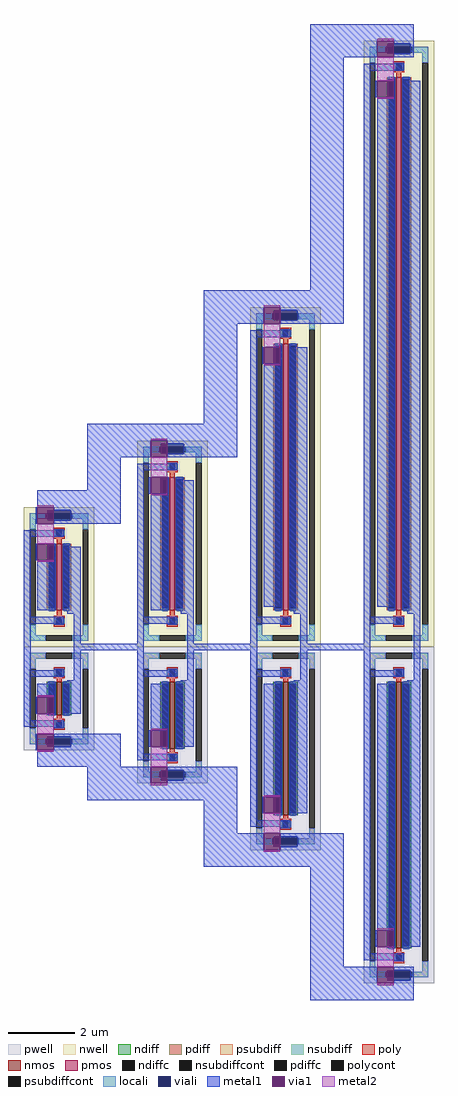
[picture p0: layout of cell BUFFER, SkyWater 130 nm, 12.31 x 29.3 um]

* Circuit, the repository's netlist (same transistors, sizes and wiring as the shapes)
** sch_path: /home/Rodin/codes/analogic/500pll/BUFFER.sch
**.subckt BUFFER VDD IN OUT GND
*.ipin IN
*.ipin VDD
*.ipin GND
*.opin OUT
XM5 net1 IN VDD VDD sky130_fd_pr__pfet_01v8 L=0.15 W=2 nf=1 ad=0.58 as=0.58 pd=4.58 ps=4.58 nrd=0.145 nrs=0.145 sa=0 sb=0 sd=0
+ mult=1
XM1 net2 net1 VDD VDD sky130_fd_pr__pfet_01v8 L=0.15 W=4 nf=1 ad=1.16 as=1.16 pd=8.58 ps=8.58 nrd=0.0725 nrs=0.0725 sa=0 sb=0 sd=0
+ mult=1
XM2 net2 net1 GND GND sky130_fd_pr__nfet_01v8 L=0.15 W=2 nf=1 ad=0.58 as=0.58 pd=4.58 ps=4.58 nrd=0.145 nrs=0.145 sa=0 sb=0 sd=0
+ mult=1
XM3 net1 IN GND GND sky130_fd_pr__nfet_01v8 L=0.15 W=1 nf=1 ad=0.29 as=0.29 pd=2.58 ps=2.58 nrd=0.29 nrs=0.29 sa=0 sb=0 sd=0
+ mult=1
XM4 OUT net3 VDD VDD sky130_fd_pr__pfet_01v8 L=0.15 W=16 nf=1 ad=4.64 as=4.64 pd=32.58 ps=32.58 nrd=0.018125 nrs=0.018125 sa=0
+ sb=0 sd=0 mult=1
XM6 OUT net3 GND GND sky130_fd_pr__nfet_01v8 L=0.15 W=8 nf=1 ad=2.32 as=2.32 pd=16.58 ps=16.58 nrd=0.03625 nrs=0.03625 sa=0 sb=0
+ sd=0 mult=1
XM7 net3 net2 VDD VDD sky130_fd_pr__pfet_01v8 L=0.15 W=8 nf=1 ad=2.32 as=2.32 pd=16.58 ps=16.58 nrd=0.03625 nrs=0.03625 sa=0 sb=0
+ sd=0 mult=1
XM8 net3 net2 GND GND sky130_fd_pr__nfet_01v8 L=0.15 W=4 nf=1 ad=1.16 as=1.16 pd=8.58 ps=8.58 nrd=0.0725 nrs=0.0725 sa=0 sb=0 sd=0
+ mult=1
**.ends
.end

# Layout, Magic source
magic
tech sky130A
magscale 1 2
<< viali >>
rect 2600 5120 2740 5180
rect 1920 3520 2060 3580
rect 1240 2720 1380 2780
rect 560 2320 700 2380
rect 560 960 700 1020
rect 1240 760 1380 820
rect 1920 360 2060 420
rect 2600 -440 2740 -380
<< metal1 >>
rect 2140 5200 2760 5300
rect 2140 5100 2540 5200
rect 2640 5180 2760 5200
rect 2740 5120 2760 5180
rect 2640 5100 2760 5120
rect 2140 3700 2340 5100
rect 1500 3600 2340 3700
rect 1500 3500 1860 3600
rect 1960 3580 2340 3600
rect 2060 3520 2340 3580
rect 1960 3500 2340 3520
rect 2460 5020 2700 5060
rect 1500 2900 1700 3500
rect 800 2800 1700 2900
rect 800 2700 1180 2800
rect 1280 2780 1700 2800
rect 1380 2720 1700 2780
rect 1280 2700 1700 2720
rect 1780 3420 2020 3460
rect 800 2500 1000 2700
rect 500 2400 1000 2500
rect 490 2300 500 2400
rect 600 2380 1000 2400
rect 700 2320 1000 2380
rect 600 2300 1000 2320
rect 1100 2620 1340 2660
rect 420 2220 660 2260
rect 420 1740 460 2220
rect 490 2080 500 2180
rect 600 2080 610 2180
rect 500 1780 600 2080
rect 660 1800 760 2160
rect 680 1760 760 1800
rect 420 1700 660 1740
rect 420 1420 460 1700
rect 720 1580 760 1760
rect 1100 1740 1140 2620
rect 1170 2480 1180 2580
rect 1280 2480 1290 2580
rect 1180 1780 1280 2480
rect 1340 1800 1440 2560
rect 1360 1760 1440 1800
rect 1100 1700 1340 1740
rect 1100 1580 1140 1700
rect 720 1540 1140 1580
rect 420 1380 660 1420
rect 420 1120 460 1380
rect 720 1360 760 1540
rect 680 1340 760 1360
rect 500 1260 600 1340
rect 490 1160 500 1260
rect 600 1160 610 1260
rect 660 1160 760 1340
rect 1100 1420 1140 1540
rect 1400 1580 1440 1760
rect 1780 1740 1820 3420
rect 1850 3260 1860 3360
rect 1960 3260 1970 3360
rect 1860 1800 1960 3260
rect 2020 1800 2120 3360
rect 2040 1760 2120 1800
rect 1780 1700 2020 1740
rect 1780 1580 1820 1700
rect 1400 1540 1820 1580
rect 1100 1380 1340 1420
rect 420 1080 660 1120
rect 490 940 500 1040
rect 600 1020 1000 1040
rect 700 960 1000 1020
rect 600 940 1000 960
rect 500 840 1000 940
rect 1100 920 1140 1380
rect 1400 1360 1440 1540
rect 1360 1340 1440 1360
rect 1180 1060 1280 1340
rect 1170 960 1180 1060
rect 1280 960 1290 1060
rect 1340 960 1440 1340
rect 1780 1420 1820 1540
rect 2080 1580 2120 1760
rect 2460 1740 2500 5020
rect 2530 4860 2540 4960
rect 2640 4860 2650 4960
rect 2540 1800 2640 4860
rect 2700 1800 2800 4960
rect 2720 1760 2800 1800
rect 2460 1700 2700 1740
rect 2460 1580 2500 1700
rect 2080 1540 2500 1580
rect 1780 1380 2020 1420
rect 1100 880 1340 920
rect 800 740 1180 840
rect 1280 820 1700 840
rect 1380 760 1700 820
rect 1280 740 1700 760
rect 800 640 1700 740
rect 1500 440 1700 640
rect 1780 520 1820 1380
rect 2080 1360 2120 1540
rect 2040 1340 2120 1360
rect 1860 660 1960 1340
rect 1850 560 1860 660
rect 1960 560 1970 660
rect 2020 560 2120 1340
rect 2460 1420 2500 1540
rect 2460 1380 2700 1420
rect 1780 480 2020 520
rect 1500 340 1860 440
rect 1960 420 2340 440
rect 2060 360 2340 420
rect 1960 340 2340 360
rect 1500 240 2340 340
rect 2140 -360 2340 240
rect 2460 -280 2500 1380
rect 2760 1360 2800 1760
rect 2720 1340 2800 1360
rect 2540 -140 2640 1340
rect 2530 -240 2540 -140
rect 2640 -240 2650 -140
rect 2700 -240 2800 1340
rect 2460 -320 2700 -280
rect 2140 -460 2540 -360
rect 2640 -380 2760 -360
rect 2740 -440 2760 -380
rect 2640 -460 2760 -440
rect 2140 -560 2760 -460
<< via1 >>
rect 2540 5180 2640 5200
rect 2540 5120 2600 5180
rect 2600 5120 2640 5180
rect 2540 5100 2640 5120
rect 1860 3580 1960 3600
rect 1860 3520 1920 3580
rect 1920 3520 1960 3580
rect 1860 3500 1960 3520
rect 1180 2780 1280 2800
rect 1180 2720 1240 2780
rect 1240 2720 1280 2780
rect 1180 2700 1280 2720
rect 500 2380 600 2400
rect 500 2320 560 2380
rect 560 2320 600 2380
rect 500 2300 600 2320
rect 500 2080 600 2180
rect 1180 2480 1280 2580
rect 500 1160 600 1260
rect 1860 3260 1960 3360
rect 500 1020 600 1040
rect 500 960 560 1020
rect 560 960 600 1020
rect 500 940 600 960
rect 1180 960 1280 1060
rect 2540 4860 2640 4960
rect 1180 820 1280 840
rect 1180 760 1240 820
rect 1240 760 1280 820
rect 1180 740 1280 760
rect 1860 560 1960 660
rect 1860 420 1960 440
rect 1860 360 1920 420
rect 1920 360 1960 420
rect 1860 340 1960 360
rect 2540 -240 2640 -140
rect 2540 -380 2640 -360
rect 2540 -440 2600 -380
rect 2600 -440 2640 -380
rect 2540 -460 2640 -440
<< metal2 >>
rect 2540 5200 2640 5210
rect 2540 4960 2640 5100
rect 2540 4850 2640 4860
rect 1860 3600 1960 3610
rect 1860 3360 1960 3500
rect 1860 3250 1960 3260
rect 1180 2800 1280 2810
rect 1180 2580 1280 2700
rect 1180 2470 1280 2480
rect 500 2400 600 2410
rect 500 2180 600 2300
rect 500 2070 600 2080
rect 500 1260 600 1270
rect 500 1040 600 1160
rect 500 930 600 940
rect 1180 1060 1280 1070
rect 1180 840 1280 960
rect 1180 730 1280 740
rect 1860 660 1960 670
rect 1860 440 1960 560
rect 1860 330 1960 340
rect 2540 -140 2640 -130
rect 2540 -360 2640 -240
rect 2540 -470 2640 -460
use sky130_fd_pr__pfet_01v8_FNQE4J  XM1
transform 1 0 1311 0 1 2179
box -211 -619 211 619
use sky130_fd_pr__nfet_01v8_33NS5F  XM2
transform 1 0 1311 0 1 1150
box -211 -410 211 410
use sky130_fd_pr__nfet_01v8_MH3LLV  XM3
transform 1 0 631 0 1 1250
box -211 -310 211 310
use sky130_fd_pr__pfet_01v8_XAKWQW  XM4
transform 1 0 2671 0 1 3379
box -211 -1819 211 1819
use sky130_fd_pr__pfet_01v8_A6MZLZ  XM5
transform 1 0 631 0 1 1979
box -211 -419 211 419
use sky130_fd_pr__nfet_01v8_77S659  XM6
transform 1 0 2671 0 1 550
box -211 -1010 211 1010
use sky130_fd_pr__pfet_01v8_U2FPYB  XM7
transform 1 0 1991 0 1 2579
box -211 -1019 211 1019
use sky130_fd_pr__nfet_01v8_WK9H77  XM8
transform 1 0 1991 0 1 950
box -211 -610 211 610
<< end >>

# cell sky130_fd_pr__pfet_01v8_FNQE4J: kit device sky130_fd_pr__pfet_01v8, w 4.0 l 0.15 m 1 nf 1 diffcov 100 polycov 100 guard 1 glc 1 grc 1 gtc 1 gbc 1 tbcov 100 rlcov 100 topc 1 botc 1 poverlap 0 doverlap 1 lmin 0.15 wmin 0.42 class mosfet compatible {sky130_fd_pr__pfet_01v8 sky130_fd_pr__pfet_01v8_lvt sky130_fd_pr__pfet_01v8_hvt sky130_fd_pr__pfet_g5v0d10v5} full_metal 1 conn_gates 0 viasrc 100 viadrn 100 viagate 100 viagb 0 viagr 0 viagl 0 viagt 0 doports 1 ad 1.16 as 1.16 pd 8.58 ps 8.58 nrd 0.0725 nrs 0.0725 sa 0 sb 0 sd 0 mult 1

# cell sky130_fd_pr__nfet_01v8_33NS5F: kit device sky130_fd_pr__nfet_01v8, w 2.0 l 0.15 m 1 nf 1 diffcov 100 polycov 100 guard 1 glc 1 grc 1 gtc 1 gbc 1 tbcov 100 rlcov 100 topc 1 botc 1 poverlap 0 doverlap 1 lmin 0.15 wmin 0.42 class mosfet compatible {sky130_fd_pr__nfet_01v8 sky130_fd_pr__nfet_01v8_lvt sky130_fd_bs_flash__special_sonosfet_star sky130_fd_pr__nfet_g5v0d10v5 sky130_fd_pr__nfet_05v0_nvt sky130_fd_pr__nfet_03v3_nvt} full_metal 1 conn_gates 0 viasrc 100 viadrn 100 viagate 100 viagb 0 viagr 0 viagl 0 viagt 0 doports 1 ad 0.58 as 0.58 pd 4.58 ps 4.58 nrd 0.145 nrs 0.145 sa 0 sb 0 sd 0 mult 1

# cell sky130_fd_pr__nfet_01v8_MH3LLV: kit device sky130_fd_pr__nfet_01v8, w 1.0 l 0.15 m 1 nf 1 diffcov 100 polycov 100 guard 1 glc 1 grc 1 gtc 1 gbc 1 tbcov 100 rlcov 100 topc 1 botc 1 poverlap 0 doverlap 1 lmin 0.15 wmin 0.42 class mosfet compatible {sky130_fd_pr__nfet_01v8 sky130_fd_pr__nfet_01v8_lvt sky130_fd_bs_flash__special_sonosfet_star sky130_fd_pr__nfet_g5v0d10v5 sky130_fd_pr__nfet_05v0_nvt sky130_fd_pr__nfet_03v3_nvt} full_metal 1 conn_gates 0 viasrc 100 viadrn 100 viagate 100 viagb 0 viagr 0 viagl 0 viagt 0 doports 1 ad 0.29 as 0.29 pd 2.58 ps 2.58 nrd 0.29 nrs 0.29 sa 0 sb 0 sd 0 mult 1

# cell sky130_fd_pr__pfet_01v8_XAKWQW: kit device sky130_fd_pr__pfet_01v8, w 16.0 l 0.15 m 1 nf 1 diffcov 100 polycov 100 guard 1 glc 1 grc 1 gtc 1 gbc 1 tbcov 100 rlcov 100 topc 1 botc 1 poverlap 0 doverlap 1 lmin 0.15 wmin 0.42 class mosfet compatible {sky130_fd_pr__pfet_01v8 sky130_fd_pr__pfet_01v8_lvt sky130_fd_pr__pfet_01v8_hvt sky130_fd_pr__pfet_g5v0d10v5} full_metal 1 conn_gates 0 viasrc 100 viadrn 100 viagate 100 viagb 0 viagr 0 viagl 0 viagt 0 doports 1 ad 4.64 as 4.64 pd 32.58 ps 32.58 nrd 0.018125 nrs 0.018125 sa 0 sb 0 sd 0 mult 1

# cell sky130_fd_pr__pfet_01v8_A6MZLZ: kit device sky130_fd_pr__pfet_01v8, w 2.0 l 0.15 m 1 nf 1 diffcov 100 polycov 100 guard 1 glc 1 grc 1 gtc 1 gbc 1 tbcov 100 rlcov 100 topc 1 botc 1 poverlap 0 doverlap 1 lmin 0.15 wmin 0.42 class mosfet compatible {sky130_fd_pr__pfet_01v8 sky130_fd_pr__pfet_01v8_lvt sky130_fd_pr__pfet_01v8_hvt sky130_fd_pr__pfet_g5v0d10v5} full_metal 1 conn_gates 0 viasrc 100 viadrn 100 viagate 100 viagb 0 viagr 0 viagl 0 viagt 0 doports 1 ad 0.58 as 0.58 pd 4.58 ps 4.58 nrd 0.145 nrs 0.145 sa 0 sb 0 sd 0 mult 1

# cell sky130_fd_pr__nfet_01v8_77S659: kit device sky130_fd_pr__nfet_01v8, w 8.0 l 0.15 m 1 nf 1 diffcov 100 polycov 100 guard 1 glc 1 grc 1 gtc 1 gbc 1 tbcov 100 rlcov 100 topc 1 botc 1 poverlap 0 doverlap 1 lmin 0.15 wmin 0.42 class mosfet compatible {sky130_fd_pr__nfet_01v8 sky130_fd_pr__nfet_01v8_lvt sky130_fd_bs_flash__special_sonosfet_star sky130_fd_pr__nfet_g5v0d10v5 sky130_fd_pr__nfet_05v0_nvt sky130_fd_pr__nfet_03v3_nvt} full_metal 1 conn_gates 0 viasrc 100 viadrn 100 viagate 100 viagb 0 viagr 0 viagl 0 viagt 0 doports 1 ad 2.32 as 2.32 pd 16.58 ps 16.58 nrd 0.03625 nrs 0.03625 sa 0 sb 0 sd 0 mult 1

# cell sky130_fd_pr__pfet_01v8_U2FPYB: kit device sky130_fd_pr__pfet_01v8, w 8.0 l 0.15 m 1 nf 1 diffcov 100 polycov 100 guard 1 glc 1 grc 1 gtc 1 gbc 1 tbcov 100 rlcov 100 topc 1 botc 1 poverlap 0 doverlap 1 lmin 0.15 wmin 0.42 class mosfet compatible {sky130_fd_pr__pfet_01v8 sky130_fd_pr__pfet_01v8_lvt sky130_fd_pr__pfet_01v8_hvt sky130_fd_pr__pfet_g5v0d10v5} full_metal 1 conn_gates 0 viasrc 100 viadrn 100 viagate 100 viagb 0 viagr 0 viagl 0 viagt 0 doports 1 ad 2.32 as 2.32 pd 16.58 ps 16.58 nrd 0.03625 nrs 0.03625 sa 0 sb 0 sd 0 mult 1

# cell sky130_fd_pr__nfet_01v8_WK9H77: kit device sky130_fd_pr__nfet_01v8, w 4.0 l 0.15 m 1 nf 1 diffcov 100 polycov 100 guard 1 glc 1 grc 1 gtc 1 gbc 1 tbcov 100 rlcov 100 topc 1 botc 1 poverlap 0 doverlap 1 lmin 0.15 wmin 0.42 class mosfet compatible {sky130_fd_pr__nfet_01v8 sky130_fd_pr__nfet_01v8_lvt sky130_fd_bs_flash__special_sonosfet_star sky130_fd_pr__nfet_g5v0d10v5 sky130_fd_pr__nfet_05v0_nvt sky130_fd_pr__nfet_03v3_nvt} full_metal 1 conn_gates 0 viasrc 100 viadrn 100 viagate 100 viagb 0 viagr 0 viagl 0 viagt 0 doports 1 ad 1.16 as 1.16 pd 8.58 ps 8.58 nrd 0.0725 nrs 0.0725 sa 0 sb 0 sd 0 mult 1
